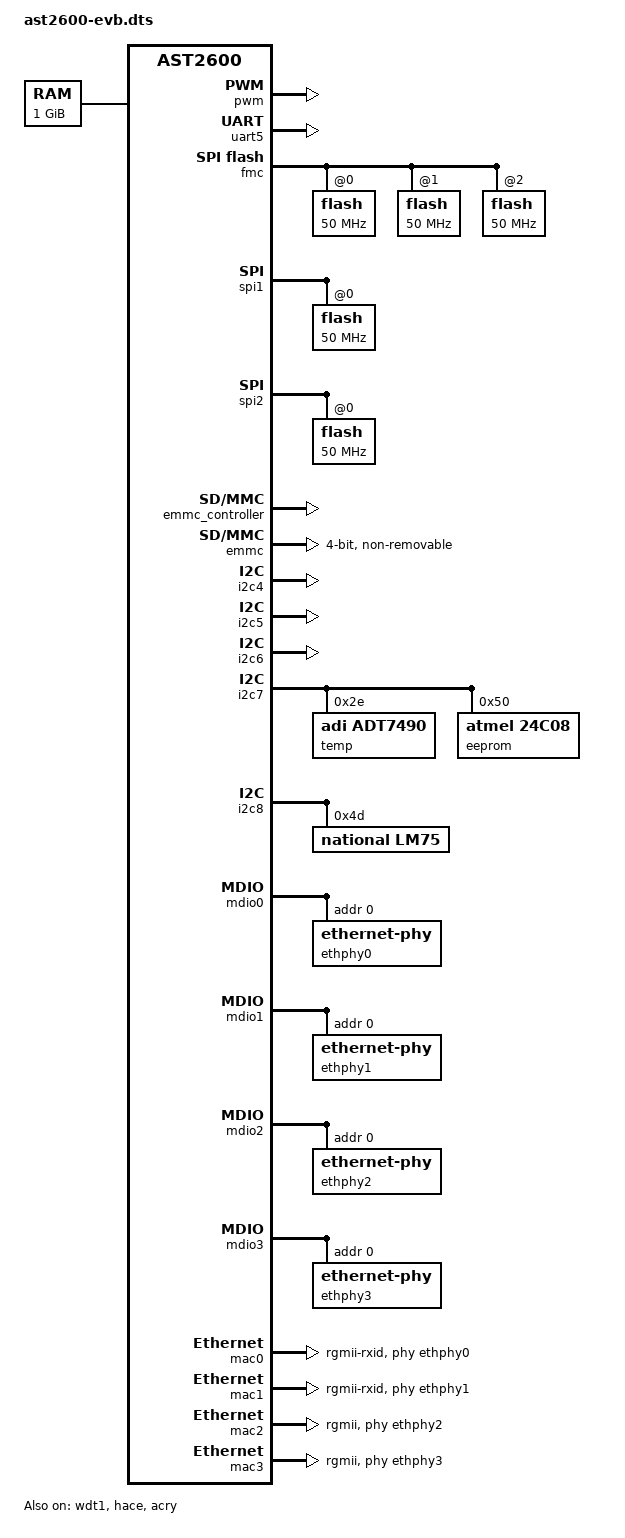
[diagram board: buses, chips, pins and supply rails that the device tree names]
// SPDX-License-Identifier: GPL-2.0+

/dts-v1/;

#include "ast2600-u-boot.dtsi"

/ {
	memory {
		device_type = "memory";
		reg = <0x80000000 0x40000000>;
	};

	chosen {
		stdout-path = &uart5;
	};

	aliases {
		mmc0 = &emmc;
		mmc1 = &sdhci0;
		mmc2 = &sdhci1;
		spi0 = &fmc;
		spi1 = &spi1;
		spi2 = &spi2;
		ethernet0 = &mac0;
		ethernet1 = &mac1;
		ethernet2 = &mac2;
		ethernet3 = &mac3;
	};

	cpus {
		cpu@0 {
			clock-frequency = <800000000>;
		};
		cpu@1 {
			clock-frequency = <800000000>;
		};
	};
};

&pwm {
	status = "okay";
	pinctrl-names = "default";
	pinctrl-0 = <&pinctrl_pwm0_default
			&pinctrl_pwm1_default
			&pinctrl_pwm2_default
			&pinctrl_pwm3_default
			&pinctrl_pwm4_default
			&pinctrl_pwm5_default
			&pinctrl_pwm6_default
			&pinctrl_pwm7_default
			&pinctrl_pwm8g1_default
			&pinctrl_pwm9g1_default
			&pinctrl_pwm10g1_default
			&pinctrl_pwm11g1_default
			&pinctrl_pwm12g1_default
			&pinctrl_pwm13g1_default
			&pinctrl_pwm14g1_default>;
};

&uart5 {
	bootph-all;
	status = "okay";
};

&sdrammc {
	clock-frequency = <400000000>;
};

&wdt1 {
	status = "okay";
};

&fmc {
	status = "okay";
	pinctrl-names = "default";
	pinctrl-0 = <&pinctrl_fmcquad_default>;

	flash@0 {
		status = "okay";
		spi-max-frequency = <50000000>;
		spi-tx-bus-width = <4>;
		spi-rx-bus-width = <4>;
	};

	flash@1 {
		status = "okay";
		spi-max-frequency = <50000000>;
		spi-tx-bus-width = <4>;
		spi-rx-bus-width = <4>;
	};

	flash@2 {
		status = "okay";
		spi-max-frequency = <50000000>;
		spi-tx-bus-width = <4>;
		spi-rx-bus-width = <4>;
	};
};

&spi1 {
	status = "okay";
	pinctrl-names = "default";
	pinctrl-0 = <&pinctrl_spi1_default &pinctrl_spi1abr_default
			&pinctrl_spi1cs1_default &pinctrl_spi1wp_default
			&pinctrl_spi1wp_default &pinctrl_spi1quad_default>;

	flash@0 {
		status = "okay";
		spi-max-frequency = <50000000>;
		spi-tx-bus-width = <4>;
		spi-rx-bus-width = <4>;
	};
};

&spi2 {
	status = "okay";
	pinctrl-names = "default";
	pinctrl-0 = <&pinctrl_spi2_default &pinctrl_spi2cs1_default
			&pinctrl_spi2cs2_default &pinctrl_spi2quad_default>;

	flash@0 {
		status = "okay";
		spi-max-frequency = <50000000>;
		spi-tx-bus-width = <4>;
		spi-rx-bus-width = <4>;
	};
};


&emmc_controller {
        status = "okay";
};

&emmc {
        non-removable;
        bus-width = <4>;
        max-frequency = <100000000>;
        clk-phase-mmc-hs200 = <9>, <225>;
};

&i2c4 {
	status = "okay";
};

&i2c5 {
	status = "okay";
};

&i2c6 {
	status = "okay";
};

&i2c7 {
	status = "okay";

	temp@2e {
		compatible = "adi,adt7490";
		reg = <0x2e>;
	};

	eeprom@50 {
		compatible = "atmel,24c08";
		reg = <0x50>;
		pagesize = <16>;
	};
};

&i2c8 {
	status = "okay";

	lm75@4d {
		compatible = "national,lm75";
		reg = <0x4d>;
	};
};

&mdio0 {
	status = "okay";
	#address-cells = <1>;
	#size-cells = <0>;
	ethphy0: ethernet-phy@0 {
		reg = <0>;
	};
};

&mdio1 {
	status = "okay";
	#address-cells = <1>;
	#size-cells = <0>;
	ethphy1: ethernet-phy@0 {
		reg = <0>;
	};
};

&mdio2 {
	status = "okay";
	#address-cells = <1>;
	#size-cells = <0>;
	ethphy2: ethernet-phy@0 {
		reg = <0>;
	};
};

&mdio3 {
	status = "okay";
	#address-cells = <1>;
	#size-cells = <0>;
	ethphy3: ethernet-phy@0 {
		reg = <0>;
	};
};

&mac0 {
	status = "okay";
	phy-mode = "rgmii-rxid";
	phy-handle = <&ethphy0>;
	pinctrl-names = "default";
	pinctrl-0 = <&pinctrl_rgmii1_default>;
};

&mac1 {
	status = "okay";
	phy-mode = "rgmii-rxid";
	phy-handle = <&ethphy1>;
	pinctrl-names = "default";
	pinctrl-0 = <&pinctrl_rgmii2_default>;
};

&mac2 {
	status = "okay";
	phy-mode = "rgmii";
	phy-handle = <&ethphy2>;
	pinctrl-names = "default";
	pinctrl-0 = <&pinctrl_rgmii3_default>;
};

&mac3 {
	status = "okay";
	phy-mode = "rgmii";
	phy-handle = <&ethphy3>;
	pinctrl-names = "default";
	pinctrl-0 = <&pinctrl_rgmii4_default>;
};

&scu {
	mac0-clk-delay = <0x1d 0x1c
			  0x10 0x17
			  0x10 0x17>;
	mac1-clk-delay = <0x1d 0x10
			  0x10 0x10
			  0x10 0x10>;
	mac2-clk-delay = <0x0a 0x04
			  0x08 0x04
			  0x08 0x04>;
	mac3-clk-delay = <0x0a 0x04
			  0x08 0x04
			  0x08 0x04>;
};

&hace {
	bootph-all;
	status = "okay";
};

&acry {
	bootph-all;
	status = "okay";
};
